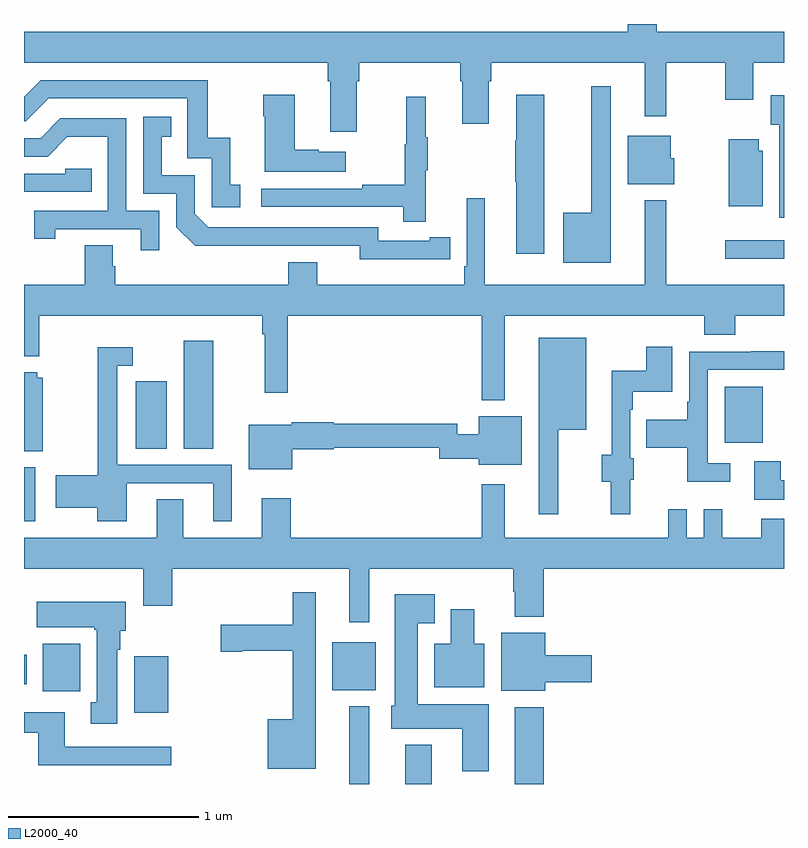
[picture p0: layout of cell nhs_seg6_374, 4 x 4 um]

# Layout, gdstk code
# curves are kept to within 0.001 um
import gdstk
lib = gdstk.Library(unit=1e-6, precision=1e-09)
def R(c, l, rs):  # rectangles x0, y0, x1, y1
    for r in rs: c.add(gdstk.rectangle(r[:2], r[2:], *l))
def P(c, l, *ps):  # polygons
    for p in ps: c.add(gdstk.Polygon(p, *l))
L2000_40 = (2000, 40)

nhs_seg6_374 = lib.new_cell('nhs_seg6_374')
R(nhs_seg6_374, L2000_40, [(132.713,983.5,132.817,983.908), (133.007,983.5,133.147,983.707), (133.583,983.5,133.736,983.905), (131.579,983.876,131.758,984.172), (131.099,983.988,131.295,984.238), (132.623,983.993,132.85,984.247), (131,984.024,131.014,984.18), (131,984.882,131.059,985.167), (131.588,985.264,131.752,985.621), (131.84,985.264,131.995,985.834), (134.687,985.295,134.887,985.591), (134.691,986.264,135,986.361)])
P(nhs_seg6_374, L2000_40, [(132.751,987.2),(132.764,987.2),(132.764,987.296),(133.295,987.296),(133.295,987.2),(133.307,987.2),(133.307,986.976),(133.447,986.976),(133.447,987.2),(133.46,987.2),(133.46,987.296),(134.267,987.296),(134.267,987.015),(134.381,987.015),(134.381,987.296),(134.692,987.296),(134.692,987.102),(134.839,987.102),(134.839,987.296),(135,987.296),(135,987.46),(134.33,987.46),(134.33,987.5),(134.177,987.5),(134.177,987.46),(131,987.46),(131,987.296),(132.599,987.296),(132.599,987.2),(132.611,987.2),(132.611,986.934),(132.751,986.934)],
  [(132.139,986.655),(132.086,986.655),(132.086,986.902),(131.968,986.902),(131.968,987.204),(131.088,987.204),(131,987.116),(131,986.988),(131.01,986.988),(131.13,987.108),(131.859,987.108),(131.859,986.793),(131.988,986.793),(131.988,986.535),(132.139,986.535)],
  [(134.089,987.172),(133.985,987.172),(133.985,986.506),(133.838,986.506),(133.838,986.243),(134.089,986.243)],
  [(132.694,986.827),(132.551,986.827),(132.551,986.837),(132.424,986.837),(132.424,987.127),(132.259,987.127),(132.259,987.014),(132.266,987.014),(132.266,986.723),(132.694,986.723)],
  [(133.738,987.127),(133.592,987.127),(133.592,986.888),(133.585,986.888),(133.585,986.671),(133.592,986.671),(133.592,986.292),(133.738,986.292)],
  [(135,987.124),(134.93,987.124),(134.93,986.97),(134.975,986.97),(134.975,986.481),(135,986.481)],
  [(133.115,986.731),(133.126,986.731),(133.126,986.905),(133.115,986.905),(133.115,987.118),(133.012,987.118),(133.012,986.868),(133.005,986.868),(133.005,986.654),(132.781,986.654),(132.781,986.634),(132.249,986.634),(132.249,986.538),(132.997,986.538),(132.997,986.46),(133.115,986.46)],
  [(133.136,986.262),(133.244,986.262),(133.244,986.378),(133.136,986.378),(133.136,986.358),(132.864,986.358),(132.864,986.43),(131.97,986.43),(131.898,986.502),(131.898,986.703),(131.725,986.703),(131.725,986.907),(131.774,986.907),(131.774,987.013),(131.628,987.013),(131.628,986.607),(131.802,986.607),(131.802,986.43),(131.9,986.333),(132.768,986.334),(132.768,986.261)],
  [(131.712,986.517),(131.538,986.517),(131.538,987.003),(131.192,987.003),(131.087,986.898),(131,986.898),(131,986.802),(131.124,986.802),(131.228,986.906),(131.442,986.906),(131.442,986.517),(131.053,986.517),(131.053,986.37),(131.164,986.37),(131.164,986.421),(131.615,986.421),(131.615,986.31),(131.712,986.31)],
  [(134.422,986.793),(134.404,986.793),(134.404,986.911),(134.177,986.911),(134.177,986.657),(134.422,986.657)],
  [(134.887,986.832),(134.866,986.832),(134.866,986.893),(134.708,986.893),(134.708,986.54),(134.887,986.54)],
  [(131.357,986.739),(131.217,986.739),(131.217,986.712),(131,986.712),(131,986.616),(131.357,986.616)],
  [(134.267,986.572),(134.267,986.128),(133.426,986.128),(133.426,986.584),(133.329,986.584),(133.329,986.224),(133.316,986.224),(133.316,986.128),(132.544,986.128),(132.544,986.245),(132.392,986.245),(132.392,986.128),(131.48,986.128),(131.48,986.226),(131.467,986.226),(131.467,986.336),(131.32,986.336),(131.32,986.128),(131,986.128),(131,985.751),(131.079,985.751),(131.079,985.964),(132.253,985.964),(132.253,985.868),(132.268,985.868),(132.268,985.56),(132.389,985.56),(132.389,985.964),(133.41,985.964),(133.41,985.52),(133.531,985.52),(133.531,985.964),(134.579,985.964),(134.579,985.865),(134.744,985.865),(134.744,985.964),(135,985.964),(135,986.128),(134.381,986.128),(134.381,986.572)],
  [(133.813,985.364),(133.96,985.364),(133.96,985.849),(133.709,985.849),(133.709,984.921),(133.813,984.921)],
  [(134.192,985.101),(134.208,985.101),(134.208,985.215),(134.19,985.215),(134.19,985.469),(134.203,985.469),(134.203,985.565),(134.413,985.565),(134.413,985.801),(134.275,985.801),(134.275,985.675),(134.093,985.675),(134.093,985.232),(134.042,985.232),(134.042,985.09),(134.089,985.09),(134.089,984.921),(134.192,984.921)],
  [(131.542,985.083),(131.996,985.083),(131.996,984.882),(132.094,984.882),(132.094,985.179),(131.49,985.179),(131.49,985.701),(131.572,985.701),(131.572,985.798),(131.389,985.798),(131.389,985.124),(131.166,985.124),(131.166,984.953),(131.386,984.953),(131.386,984.882),(131.542,984.882)],
  [(134.716,985.188),(134.598,985.188),(134.598,985.68),(135,985.68),(135,985.778),(134.827,985.778),(134.827,985.776),(134.502,985.776),(134.502,985.513),(134.49,985.513),(134.49,985.417),(134.275,985.417),(134.275,985.27),(134.49,985.27),(134.49,985.091),(134.716,985.091)],
  [(131.098,985.638),(131.07,985.638),(131.07,985.666),(131,985.666),(131,985.252),(131.098,985.252)],
  [(132.412,985.261),(132.63,985.261),(132.63,985.269),(133.185,985.269),(133.185,985.212),(133.394,985.212),(133.394,985.181),(133.621,985.181),(133.621,985.435),(133.394,985.435),(133.394,985.34),(133.281,985.34),(133.281,985.397),(132.63,985.397),(132.63,985.403),(132.408,985.403),(132.408,985.39),(132.182,985.39),(132.182,985.157),(132.412,985.157)],
  [(135,985.099),(134.983,985.099),(134.983,985.198),(134.843,985.198),(134.843,984.995),(135,984.995)],
  [(132.817,984.632),(133.576,984.632),(133.576,984.512),(133.583,984.512),(133.583,984.38),(133.736,984.38),(133.736,984.632),(135,984.632),(135,984.895),(134.879,984.895),(134.879,984.796),(134.675,984.796),(134.675,984.946),(134.577,984.946),(134.577,984.796),(134.487,984.796),(134.487,984.946),(134.39,984.946),(134.39,984.796),(133.531,984.796),(133.531,985.078),(133.41,985.078),(133.41,984.796),(132.404,984.796),(132.404,985.003),(132.251,985.003),(132.251,984.796),(131.839,984.796),(131.839,984.998),(131.699,984.998),(131.699,984.796),(131,984.796),(131,984.632),(131.627,984.632),(131.627,984.438),(131.78,984.438),(131.78,984.632),(132.713,984.632),(132.713,984.351),(132.817,984.351)],
  [(132.535,984.508),(132.414,984.508),(132.414,984.339),(132.036,984.339),(132.036,984.197),(132.148,984.197),(132.148,984.202),(132.414,984.202),(132.414,983.842),(132.284,983.842),(132.284,983.579),(132.535,983.579)],
  [(133.447,983.92),(133.072,983.92),(133.072,984.347),(133.162,984.347),(133.162,984.499),(132.95,984.499),(132.95,983.913),(132.932,983.913),(132.932,983.792),(133.307,983.792),(133.307,983.568),(133.447,983.568)],
  [(131.491,984.206),(131.506,984.206),(131.506,984.306),(131.536,984.306),(131.536,984.46),(131.067,984.46),(131.067,984.326),(131.371,984.326),(131.371,984.313),(131.384,984.313),(131.384,983.929),(131.351,983.929),(131.351,983.817),(131.491,983.817)],
  [(133.423,984.238),(133.369,984.238),(133.369,984.421),(133.247,984.421),(133.247,984.238),(133.16,984.238),(133.16,984.008),(133.423,984.008)],
  [(133.744,984.035),(133.987,984.035),(133.987,984.177),(133.744,984.177),(133.744,984.295),(133.511,984.295),(133.511,983.99),(133.744,983.99)],
  [(131.776,983.697),(131.215,983.697),(131.215,983.878),(131,983.878),(131,983.769),(131.075,983.769),(131.075,983.6),(131.776,983.6)])

lib.write_gds('nhs_seg6_374.gds')
